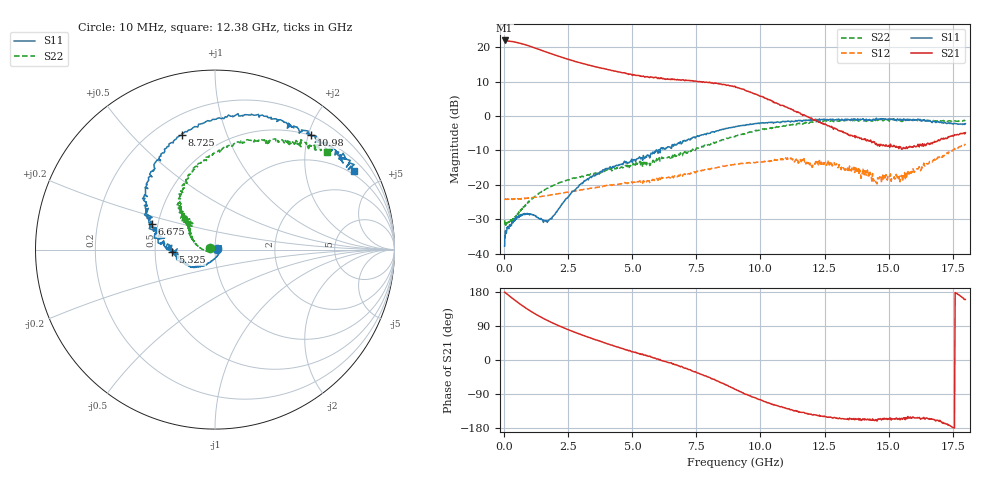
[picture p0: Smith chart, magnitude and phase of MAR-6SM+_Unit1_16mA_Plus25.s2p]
!Mini-Circuits Laboratory
!S-Parameters
!Model: MAR-6SM+
!Run / Lot / Date Code: N/A / AH182-001-02-22EV / 1052
!Fixture: N/A; TB-289+
!AUTO PORT EXTENSION DONE: PORT<1>=94.68ps; PORT<2>=95.92ps
!Network Analyzer: PNA-X N5242A - 423 4 ports;  Serial number: 71256
!Date: 3/16/2011
!S/N: Unit# 1
# Hz  S  dB  R  50
!Frequency  S11 dB  S11 Deg  S21 dB  S21 Deg  S12 dB  S12 Deg  S22 dB  S22 Deg
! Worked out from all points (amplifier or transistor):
!   879 points, 10 MHz to 18 GHz, reference 50 ohm
!   highest |S21| = 22.0 dB at 10 MHz (marker M1)
!   |S21| within 3 dB of that: start of sweep to 1.502 GHz
!   unconditionally stable (mu >= 1): start of sweep to 6.863 GHz; 6.88 GHz to 6.964 GHz
!   at 740 MHz: K = 1.06, MAG = 20.9 dB, |S12| = -24.0 dB
!   at 7.025 GHz: K = 0.96, MSG = 13.6 dB, |S12| = -16.8 dB
!   at 18 GHz: K = -0.14, MSG = 1.6 dB, |S12| = -8.1 dB
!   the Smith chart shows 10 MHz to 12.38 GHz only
!   S11 on the Smith chart (normalised r, x): 10 MHz: 1.02, +0.01; 5.325 GHz: 0.61, -0.02; 6.675 GHz: 0.46, +0.16; 8.725 GHz: 0.31, +0.71; 10.98 GHz: 0.49, +2.05; 12.38 GHz: 0.84, +3.60
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1.00001e7  -37.80 17.3  21.96 178.9  -24.11 -0.2  -30.26 161.5
2.600001e8  -31.66 25.1  21.69 165.6  -24.21 2.7  -30.15 -172.6
5.350001e8  -29.40 32.0  21.30 151.4  -24.07 5.5  -28.43 -169.9
1e9  -28.39 20.9  20.27 129.9  -23.80 10.2  -24.63 -176.7
1.425e9  -29.72 -6.1  19.16 113.2  -23.40 13.7  -22.16 174.8
1.95e9  -28.73 -67.9  17.79 95.7  -22.74 17.0  -20.02 167.2
2.45e9  -23.79 -106.9  16.58 81.0  -22.13 18.5  -18.54 161.3
3.025e9  -19.51 -124.5  15.34 66.2  -21.41 19.6  -17.47 156.8
4.05e9  -15.36 -149.4  13.47 42.4  -20.20 19.2  -15.89 147.7
5.325e9  -12.44 -176.8  11.67 16.5  -19.24 16.5  -14.35 136.5
6.025e9  -9.86 169.5  11.11 1.4  -18.24 14.9  -12.66 137.4
6.675e9  -8.43 157.8  10.59 -12.1  -17.66 11.0  -11.73 132.5
7.95e9  -5.05 128.2  9.74 -44.8  -15.43 1.2  -8.36 118.7
8.725e9  -3.55 105.9  8.96 -67.5  -14.33 -9.4  -6.52 101.8
9.025e9  -3.05 97.5  8.32 -77.9  -14.06 -14.2  -5.72 95.8
9.95e9  -2.19 71.6  5.84 -104.6  -13.29 -28.9  -4.15 74.7
1.0975e10  -1.57 49.9  2.67 -126.8  -12.17 -47.5  -2.92 56.6
1.2025e10  -1.29 35.8  -0.95 -145.0  -14.91 -68.9  -1.75 44.3
1.2375e10  -1.00 29.6  -2.12 -148.0  -13.39 -66.9  -1.65 40.9
1.5025e10  -0.85 40.7  -8.48 -156.7  -17.95 -78.8  -1.55 53.0
1.6825e10  -1.76 47.1  -7.54 -160.0  -13.11 -55.6  -1.61 62.6
1.8e10  -2.23 5.3  -4.85 159.7  -8.08 -79.7  -1.20 28.9
